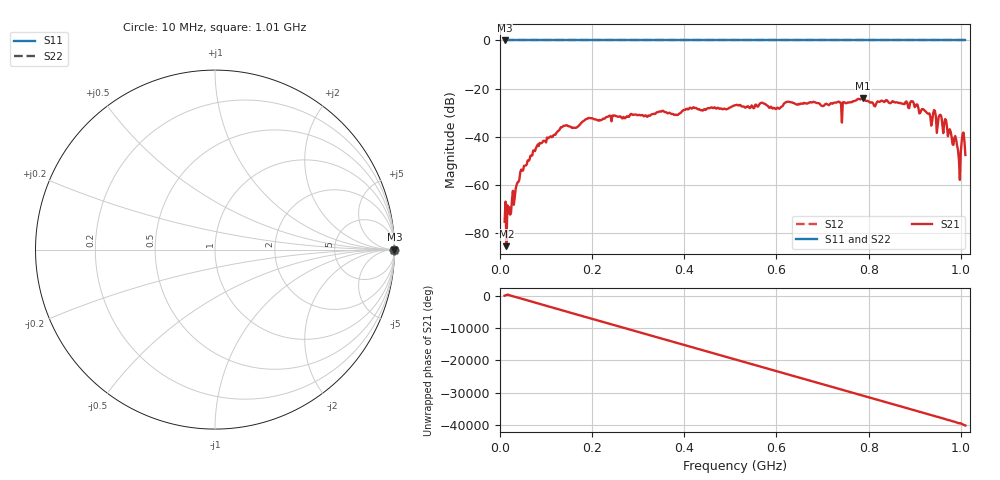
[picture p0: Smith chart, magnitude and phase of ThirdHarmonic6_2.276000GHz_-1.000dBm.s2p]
! 8/17/2025 2:55:07 AM
! C:\ANRITSUVNA\TEMP\TEMP.S2P
! CHANNEL.1
! TR.MEASUREMENT
! RAW.DATA
! RF.CORRECTION.OFF
! AVERAGING.OFF
! IF.BANDWIDTH: 5KHZ
! SWEEPTYPE:  FREQ.SWEEP(Linear)
! Reference Plane Port Info
! PORT:  PORT1  PORT2
! DISTANCE:  0  m  0  m
! TIME:  0  s  0  s
! PHASE.OFFSET:  0  deg.  0  deg.
! LOSS:  0  dB  0  dB
! REF.LOSS:  0  dB  0  dB
! REF.FREQ:  0  Hz  0  Hz
! Power Info
! POWER:  -20  dBm  -20  dBm
! EFF.POWER:  -20  dBm  -20  dBm
! SOURCE.ATTEN:  0  dB  0  dB
! TEST.ATTEN:  0  dB  0  dB
# GHZ S RI R 50.0
! FREQ.GHZ  S11RE  S11IM  S21RE  S21IM  S12RE  S12IM  S22RE  S22IM
!; PortSelection: Port_12
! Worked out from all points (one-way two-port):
!   501 points, 10 MHz to 1.01 GHz, reference 50 ohm
!   highest |S21| = -23.93 dB at 788 MHz (marker M1); lowest = -85.3 dB at 14 MHz (marker M2)
!   lowest |S11| = 0.0 dB at 10 MHz (marker M3)
!   |S11| at or under -10 dB: nowhere
!   |S22| runs from 0.0 to 0.0 dB; largest |S21 - S12| = 1.1
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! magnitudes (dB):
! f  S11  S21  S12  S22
! 10 MHz  0.0  -75.1  0.0  0.0
! 14 MHz  0.0  -85.3  0.0  0.0
! 26 MHz  0.0  -66.0  0.0  0.0
! 48 MHz  0.0  -54.0  0.0  0.0
! 82 MHz  0.0  -43.1  0.0  0.0
! 136 MHz  0.0  -35.8  0.0  0.0
! 178 MHz  0.0  -33.9  0.0  0.0
! 344 MHz  0.0  -29.7  0.0  0.0
! 510 MHz  0.0  -26.9  0.0  0.0
! 602 MHz  0.0  -27.8  0.0  0.0
! 624 MHz  0.0  -25.4  0.0  0.0
! 678 MHz  0.0  -25.7  0.0  0.0
! 746 MHz  0.0  -25.6  0.0  0.0
! 788 MHz  0.0  -23.9  0.0  0.0
! 844 MHz  0.0  -25.8  0.0  0.0
! 894 MHz  0.0  -25.2  0.0  0.0
! 934 MHz  0.0  -31.8  0.0  0.0
! 956 MHz  0.0  -30.8  0.0  0.0
! 990 MHz  0.0  -41.2  0.0  0.0
! 996 MHz  0.0  -49.5  0.0  0.0
! 1.004 GHz  0.0  -38.8  0.0  0.0
! 1.01 GHz  0.0  -47.5  0.0  0.0
